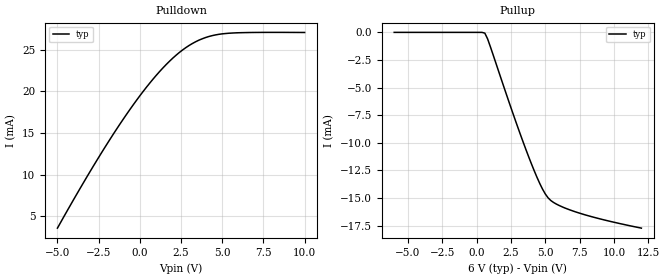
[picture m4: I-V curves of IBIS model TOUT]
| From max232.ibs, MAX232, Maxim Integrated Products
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|   Driver Transmitter Output
[Model]   TOUT
|Signals   T1OUT, T2OUT
Model_type   Output
Polarity   Inverting
Vmeas = 3V
C_comp   0.96pF   0.53pF   1.60pF
[Temperature Range]   25   -40   85
[Voltage Range]   6.00V   NA   NA
[Pullup Reference]   6.00V   NA   NA
[Pulldown Reference]   0.00V   0.00V   0.00V
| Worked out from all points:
|   slope of the pulldown table from 0 to 0.9 V, typ, clamps not added: 403 ohm
|   slope of the pullup table from 0 to 0.9 V, typ, clamps not added: 958 ohm
[Pullup]
| Note that the[Pullup]voltage table is referenced to Vcc
| and is calculated using Vtable=Vcc - Vmeasured.
| V(V)  I(typ)   I(min)  I(max)
-6V       0A         NA         NA
600mV     -71.91uA   NA         NA
800mV     -587.2uA   NA         NA
2.8V      -7.887mA   NA         NA
3.8V      -11.29mA   NA         NA
4.6V      -13.68mA   NA         NA
5V        -14.62mA   NA         NA
5.2V      -14.97mA   NA         NA
5.8V      -15.54mA   NA         NA
7.2V      -16.25mA   NA         NA
9.2V      -16.95mA   NA         NA
12V       -17.72mA   NA         NA
[Pulldown]
| Note that the[Pulldown]voltage table is referenced to Gnd.
| Also, the Semiconductor Parameter Analyzer (Force and Sense)
| clamps the supply current to 100mA to protect the system.
| V(V)  I(typ)   I(min)  I(max)
-5V       3.586mA    NA         NA
-2.8V     11.09mA    NA         NA
-800mV    17.25mA    NA         NA
200mV     19.97mA    NA         NA
1V        21.91mA    NA         NA
1.8V      23.59mA    NA         NA
2.4V      24.65mA    NA         NA
3V        25.5mA     NA         NA
3.6V      26.13mA    NA         NA
4.8V      26.82mA    NA         NA
6.4V      27.03mA    NA         NA
10V       27.04mA    NA         NA
[Ramp]
| variable   typ   min   max
dV/dt_r   9.02V/1uS   6.72V/1us   13.68V/1uS
dV/dt_f   8.83V/1uS   5.39V/1uS   15.65V/1uS
R_load = 7Kohms
|End [Model] TOUT
|End [Component] MAX232
